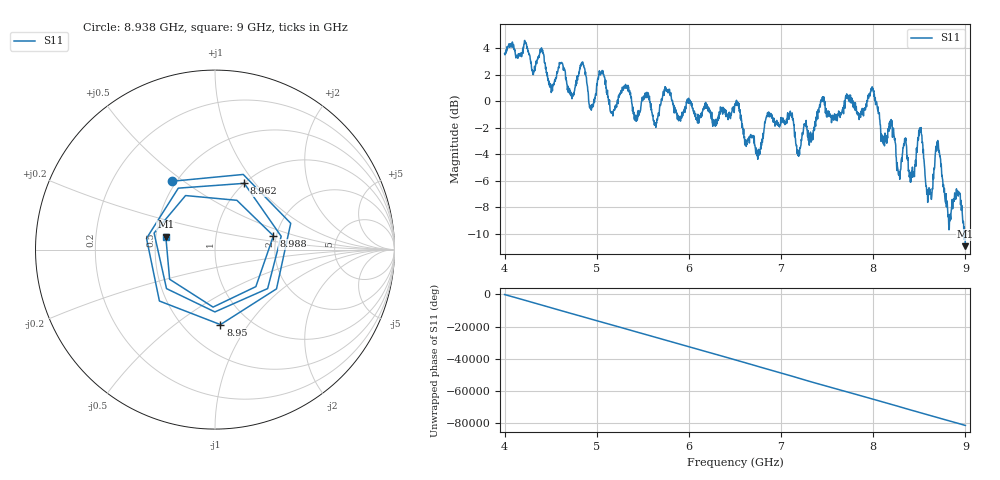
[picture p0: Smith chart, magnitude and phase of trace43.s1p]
! Created with skrf 1.8.0 (http://scikit-rf.org).
# Hz S RI R 50.0
!freq ReS11 ImS11
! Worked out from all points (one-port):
!   1601 points, 4 GHz to 9 GHz, reference 50 ohm
!   lowest |S11| = -11.0 dB at 9 GHz (marker M1), VSWR 1.79, Z = 28.2 + j4.41 ohm
!   |S11| at or under -10 dB: 8.982839 GHz to 8.985908 GHz (3.069 MHz wide, 0.0342 % of centre); 8.989976 GHz to 8.993039 GHz (3.063 MHz wide, 0.0341 % of centre); 8.994686 GHz to end of sweep
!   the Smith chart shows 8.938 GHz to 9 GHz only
!   S11 on the Smith chart (normalised r, x): 8.938 GHz: 0.47, +0.45; 8.95 GHz: 0.74, -0.75; 8.962 GHz: 1.00, +0.88; 8.988 GHz: 1.93, +0.33; 9 GHz: 0.56, +0.09
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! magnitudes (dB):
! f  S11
! 4 GHz  3.6
! 4.625 GHz  2.8
! 4.731 GHz  0.2
! 4.847 GHz  2.9
! 4.938 GHz  -0.6
! 5.047 GHz  2.2
! 5.166 GHz  -0.8
! 5.25 GHz  0.5
! 5.875 GHz  -1.4
! 6.5 GHz  -0.2
! 6.747 GHz  -4.4
! 6.862 GHz  -1.0
! 7.125 GHz  -1.4
! 7.191 GHz  -4.2
! 7.444 GHz  0.2
! 7.75 GHz  0.3
! 7.988 GHz  1.1
! 8.275 GHz  -5.6
! 8.375 GHz  -4.4
! 8.509 GHz  -2.0
! 8.606 GHz  -6.5
! 8.7 GHz  -3.0
! 8.819 GHz  -9.3
! 8.938 GHz  -6.9
! 8.95 GHz  -7.6
! 8.962 GHz  -7.9
! 8.988 GHz  -9.5
! 9 GHz  -11.0
